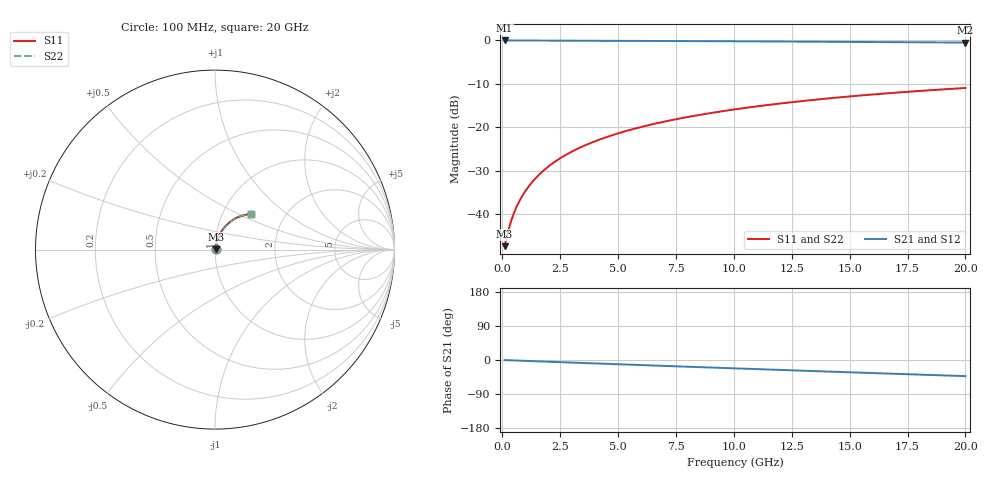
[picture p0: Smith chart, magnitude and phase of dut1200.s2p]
! Touchstone file exported from HFSS 2026.1.0
!  File:  C:/ffzhzh/LocalFiles/Ansys_Project_Files/temp_train_TMRDL_1200_1783162968_43440.aedt
!  Generated:  07:04:00 PM Jul  4, 2026
!  Design:  TMRDL
!  Project:  temp_train_TMRDL_1200_1783162968_43440
! Variables:
!  h_bsmrdl = 2um
!  h_ox = 20um
!  h_rdl = 5um
!  h_sub = 80um
!  h_tmrdl = 4.65um
!  h_tsv = 80um
!  h_via = 3um
!  l_bsmrdl = 300um
!  l_sub = 1107.82um
!  l_tmrdl = 707.82um
!  m_sub = 200um
!  pitch = 27.25um
!  r_tsv = 6um
!  s_tmrdl = 10um
!  w_bsmrdl = 18um
!  w_sub = 500um
!  w_tmrdl = 14.56um
!  x_tsv_center1 = 715.1um
!  x_tsv_center2 = 1033.1um
!  x_tsv_center3 = 1755.48um
!  x_tsv_center4 = 2073.48um
!  x_tsv_center5 = 2795.86um
!  x_tsv_center6 = 3113.86um
# GHz S MA R 50.000000
! Terminal data exported
! Port[1] = TM_RDL1_1_T1
! Port[2] = TM_RDL1_1_T2
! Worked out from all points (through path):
!   200 points, 100 MHz to 20 GHz, reference 50 ohm
!   highest |S21| = -0.03 dB at 100 MHz (marker M1); lowest = -0.5 dB at 20 GHz (marker M2)
!   group delay of S21, straight-line fit = 5.9 ps
!   lowest |S11| = -47.3 dB at 100 MHz (marker M3), VSWR 1.01, Z = 50.4 + j0.204 ohm
!   |S11| at or under -10 dB: start of sweep to end of sweep
!   |S22| runs from -47.3 to -11.0 dB; largest |S21 - S12| = 2.7e-15
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0.1  0.004319 27.9  0.9962 -0.2  0.9962 -0.2  0.004319 27.9
! Gamma 0 0 0 0
! Port Impedance 50 0 50 0
0.2  0.005628 44.4  0.996 -0.5  0.996 -0.5  0.005628 44.4
0.3  0.007143 53.5  0.9958 -0.7  0.9958 -0.7  0.007143 53.5
0.4  0.008711 59.2  0.9956 -0.9  0.9956 -0.9  0.008711 59.2
0.5  0.01031 63.3  0.9955 -1.2  0.9955 -1.2  0.01031 63.3
0.6  0.01193 66.2  0.9954 -1.4  0.9954 -1.4  0.01193 66.2
0.8  0.01523 70.2  0.9952 -1.8  0.9952 -1.8  0.01523 70.2
1  0.01859 72.7  0.995 -2.3  0.995 -2.3  0.01859 72.7
1.2  0.02198 74.3  0.9948 -2.8  0.9948 -2.8  0.02198 74.3
1.4  0.0254 75.3  0.9946 -3.2  0.9946 -3.2  0.0254 75.3
1.7  0.03053 76.2  0.9943 -3.9  0.9943 -3.9  0.03053 76.2
2.2  0.03908 76.6  0.9936 -5.0  0.9936 -5.0  0.03908 76.6
2.8  0.04925 76.4  0.9926 -6.4  0.9926 -6.4  0.04925 76.4
3.5  0.06094 75.6  0.9913 -7.9  0.9913 -7.9  0.06094 75.6
4.2  0.07244 74.5  0.9898 -9.5  0.9898 -9.5  0.07244 74.5
5  0.08533 73.1  0.988 -11.2  0.988 -11.2  0.08533 73.1
6.8  0.1134 69.7  0.9834 -15.2  0.9834 -15.2  0.1134 69.7
8.3  0.1359 66.8  0.9794 -18.4  0.9794 -18.4  0.1359 66.8
10.1  0.1618 63.3  0.9742 -22.2  0.9742 -22.2  0.1618 63.3
13.4  0.2064 56.9  0.9641 -29.1  0.9641 -29.1  0.2064 56.9
16.7  0.2471 50.6  0.9534 -35.9  0.9534 -35.9  0.2471 50.5
20  0.2833 44.3  0.9425 -42.5  0.9425 -42.5  0.2834 44.2
